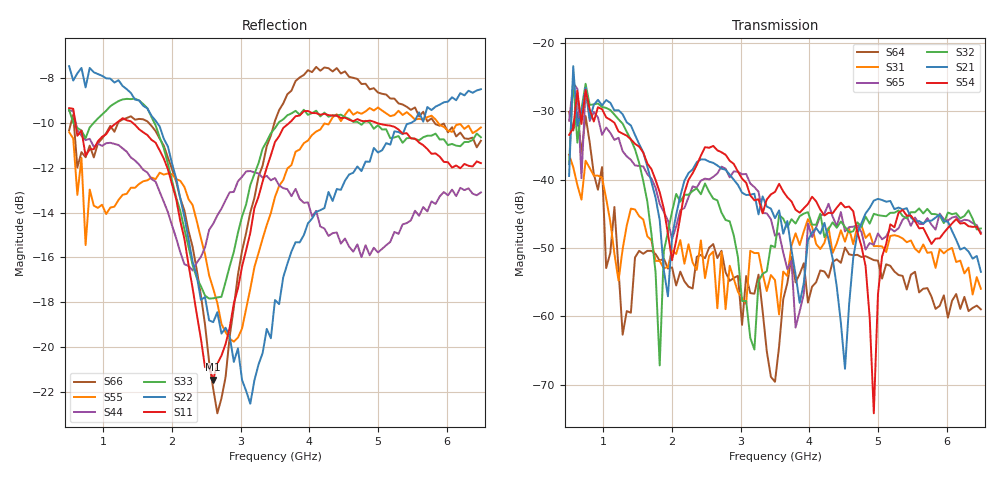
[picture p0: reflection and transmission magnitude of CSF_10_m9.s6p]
!Keysight Technologies,M9804A,MY58100912,A.14.10.03
!Date: Thursday, April 27, 2023 10:28:33
!Correction: S11(C  6-Port  )
!S12(C  6-Port  )
!S13(C  6-Port  )
!S14(C  6-Port  )
!S15(C  6-Port  )
!S16(C  6-Port  )
!S21(C  6-Port  )
!S22(C  6-Port  )
!S23(C  6-Port  )
!S24(C  6-Port  )
!S25(C  6-Port  )
!S26(C  6-Port  )
!S31(C  6-Port  )
!S32(C  6-Port  )
!S33(C  6-Port  )
!S34(C  6-Port  )
!S35(C  6-Port  )
!S36(C  6-Port  )
!S41(C  6-Port  )
!S42(C  6-Port  )
!S43(C  6-Port  )
!S44(C  6-Port  )
!S45(C  6-Port  )
!S46(C  6-Port  )
!S51(C  6-Port  )
!S52(C  6-Port  )
!S53(C  6-Port  )
!S54(C  6-Port  )
!S55(C  6-Port  )
!S56(C  6-Port  )
!S61(C  6-Port  )
!S62(C  6-Port  )
!S63(C  6-Port  )
!S64(C  6-Port  )
!S65(C  6-Port  )
!S66(C  6-Port  )
!S6P File: Measurement: :
# Hz S  RI  R 50
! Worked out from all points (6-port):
!   101 points, 500 MHz to 6.5 GHz, reference 50 ohm
!   strongest paths, dB at 500 MHz, 2 GHz, 3.5 GHz, 5 GHz, 6.5 GHz:
!     S54: -33.5, -51.8, -41.8, -56.8, -47.9
!     S21: -39.5, -48.3, -45.6, -42.8, -53.5
!     S32: -37.7, -44.7, -49.9, -45.2, -47.2
!     S65: -31.4, -48.7, -48.2, -47.9, -47.7
!     S31: -36.4, -50.4, -54.7, -49.7, -56.0
!     S64: -30.1, -52.9, -69.6, -51.9, -59.0
!   lowest |S11| = -21.4 dB at 2.6 GHz (marker M1), VSWR 1.19, Z = 42.5 + j2.18 ohm
!   |S11| at or under -10 dB: 590.6 MHz to 1.197 GHz (606.6 MHz wide, 67.9 % of centre); 1.421 GHz to 3.713 GHz (2.291 GHz wide, 89.3 % of centre); 4.969 GHz to end of sweep
